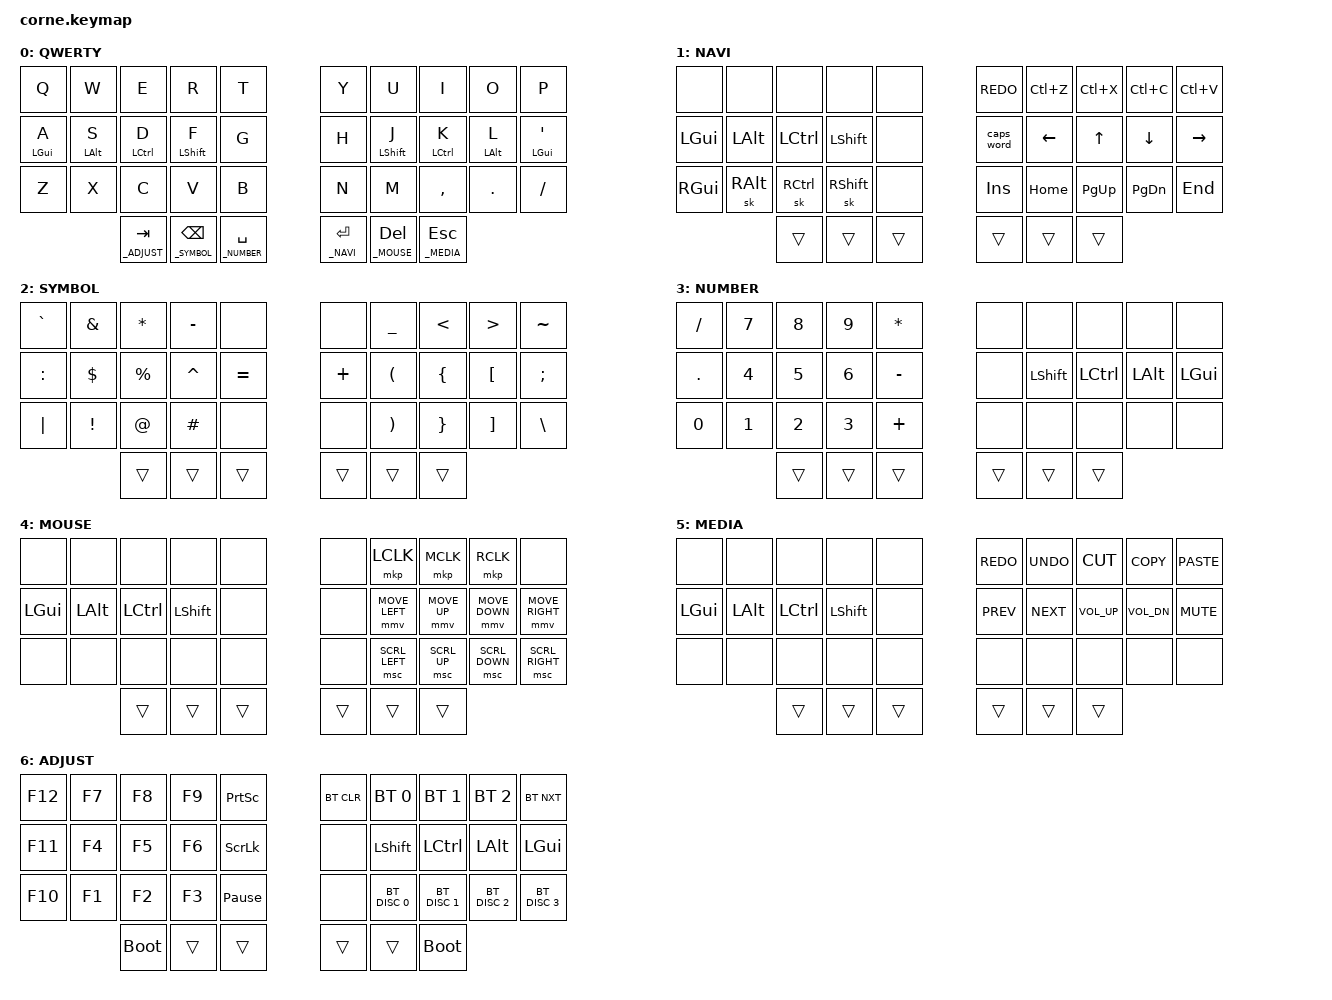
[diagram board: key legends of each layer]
#include <behaviors.dtsi>
#include <dt-bindings/zmk/bt.h>
#include <dt-bindings/zmk/keys.h>
#include <dt-bindings/zmk/pointing.h>

#define _DEFAULT 0
#define _NAVI 1
#define _SYMBOL 2
#define _NUMBER 3
#define _MOUSE 4
#define _MEDIA 5
#define _ADJUST 6
#define TAPPING_TERM 200
#define QUICK_TAP 300

#define ZMK_POINTING_DEFAULT_MOVE_VAL 1500  // default: 600
#define ZMK_POINTING_DEFAULT_SCRL_VAL 25    // default: 10

/* Key index
 0  1  2  3  4         5  6  7  8  9
10 11 12 13 14        15 16 17 18 19
20 21 22 23 24        25 26 27 28 29
        30 31 32    33 34 35         */

&lt {
    tapping-term-ms = <TAPPING_TERM>;
    quick-tap-ms = <QUICK_TAP>;
};

/ {
    behaviors {
        hm: homerow_mods {
            compatible = "zmk,behavior-hold-tap";
            label = "HOMEROW_MODS";
            #binding-cells = <2>;
            tapping-term-ms = <TAPPING_TERM>;
            quick-tap-ms = <QUICK_TAP>;
            flavor = "tap-preferred";
            bindings = <&kp>, <&kp>;
        };
    };
};

/ {
    chosen { zmk,matrix_transform = &five_column_transform; };
};

/ {
    keymap {
        compatible = "zmk,keymap";

        default_layer {
            label = "QWERTY";
            bindings = <
//     |________________|________________|________________|________________|________________|    |________________|________________|________________|________________|________________|
        &kp Q            &kp W            &kp E            &kp R            &kp T                 &kp Y            &kp U            &kp I            &kp O            &kp P
//     |________________|________________|________________|________________|________________|    |________________|________________|________________|________________|________________|
        &hm LGUI A       &hm LALT S       &hm LCTRL D      &hm LSHFT F      &kp G                 &kp H            &hm LSHFT J      &hm LCTRL K      &hm LALT L       &hm LGUI SQT
//     |________________|________________|________________|________________|________________|    |________________|________________|________________|________________|________________|
        &kp Z            &kp X            &kp C            &kp V            &kp B                 &kp N            &kp M            &kp COMMA        &kp DOT          &kp FSLH
//     |________________|________________|________________|________________|________________|    |________________|________________|________________|________________|________________|
//                              |___________________|___________________|___________________|    |___________________|___________________|___________________|
                                 &lt _ADJUST TAB     &lt _SYMBOL BSPC    &lt _NUMBER SPACE        &lt _NAVI RET       &lt _MOUSE DEL      &lt _MEDIA ESC
//                              |___________________|___________________|___________________|    |___________________|___________________|___________________|
            >;
        };

        navi_layer {
            label = "NAVI";
            bindings = <
//     |________________|________________|________________|________________|________________|    |________________|________________|________________|________________|________________|
        &none            &none            &none            &none            &none                 &kp K_REDO       &kp LC(Z)        &kp LC(X)        &kp LC(C)        &kp LC(V)
//     |________________|________________|________________|________________|________________|    |________________|________________|________________|________________|________________|
        &kp LGUI         &kp LALT         &kp LCTRL        &kp LSHFT        &none                 &caps_word       &kp LEFT         &kp UP           &kp DOWN         &kp RIGHT
//     |________________|________________|________________|________________|________________|    |________________|________________|________________|________________|________________|
        &kp RGUI         &sk RALT         &sk RCTRL        &sk RSHFT        &none                 &kp INS          &kp HOME         &kp PG_UP        &kp PG_DN        &kp END
//     |________________|________________|________________|________________|________________|    |________________|________________|________________|________________|________________|
//                              |___________________|___________________|___________________|    |___________________|___________________|___________________|
                                 &trans              &trans              &trans                   &trans              &trans              &trans
//                              |___________________|___________________|___________________|    |___________________|___________________|___________________|
            >;
        };

        symbol_layer {
            label = "SYMBOL";
            bindings = <
//     |________________|________________|________________|________________|________________|    |________________|________________|________________|________________|________________|
        &kp GRAVE        &kp AMPS         &kp STAR         &kp MINUS        &none                 &none            &kp UNDER        &kp LT           &kp GT           &kp TILDE
//     |________________|________________|________________|________________|________________|    |________________|________________|________________|________________|________________|
        &kp COLON        &kp DLLR         &kp PRCNT        &kp CARET        &kp EQUAL             &kp PLUS         &kp LPAR         &kp LBRC         &kp LBKT         &kp SEMI
//     |________________|________________|________________|________________|________________|    |________________|________________|________________|________________|________________|
        &kp PIPE         &kp EXCL         &kp AT           &kp HASH         &none                 &none            &kp RPAR         &kp RBRC         &kp RBKT         &kp BSLH
//     |________________|________________|________________|________________|________________|    |________________|________________|________________|________________|________________|
//                              |___________________|___________________|___________________|    |___________________|___________________|___________________|
                                 &trans              &trans              &trans                   &trans              &trans              &trans
//                              |___________________|___________________|___________________|    |___________________|___________________|___________________|
            >;
        };

        number_layer {
            label = "NUMBER";
            bindings = <
//     |________________|________________|________________|________________|________________|    |________________|________________|________________|________________|________________|
        &kp FSLH         &kp N7           &kp N8           &kp N9           &kp STAR              &none            &none            &none            &none            &none
//     |________________|________________|________________|________________|________________|    |________________|________________|________________|________________|________________|
        &kp DOT          &kp N4           &kp N5           &kp N6           &kp MINUS             &none            &kp LSHFT        &kp LCTRL        &kp LALT         &kp LGUI
//     |________________|________________|________________|________________|________________|    |________________|________________|________________|________________|________________|
        &kp N0           &kp N1           &kp N2           &kp N3           &kp PLUS              &none            &none            &none            &none            &none
//     |________________|________________|________________|________________|________________|    |________________|________________|________________|________________|________________|
//                              |___________________|___________________|___________________|    |___________________|___________________|___________________|
                                 &trans              &trans              &trans                   &trans              &trans              &trans
//                              |___________________|___________________|___________________|    |___________________|___________________|___________________|
            >;
        };

        mouse_layer {
            label = "MOUSE";
            bindings = <
//     |________________|________________|________________|________________|________________|    |________________|________________|________________|________________|________________|
        &none            &none            &none            &none            &none                 &none            &mkp LCLK        &mkp MCLK        &mkp RCLK        &none
//     |________________|________________|________________|________________|________________|    |________________|________________|________________|________________|________________|
        &kp LGUI         &kp LALT         &kp LCTRL        &kp LSHFT        &none                 &none            &mmv MOVE_LEFT   &mmv MOVE_UP     &mmv MOVE_DOWN   &mmv MOVE_RIGHT
//     |________________|________________|________________|________________|________________|    |________________|________________|________________|________________|________________|
        &none            &none            &none            &none            &none                 &none            &msc SCRL_LEFT   &msc SCRL_UP     &msc SCRL_DOWN   &msc SCRL_RIGHT
//     |________________|________________|________________|________________|________________|    |________________|________________|________________|________________|________________|
//                              |___________________|___________________|___________________|    |___________________|___________________|___________________|
                                 &trans              &trans              &trans                   &trans              &trans              &trans
//                              |___________________|___________________|___________________|    |___________________|___________________|___________________|
            >;
        };

        media_layer {
            label = "MEDIA";
            bindings = <
//     |________________|________________|________________|________________|________________|    |________________|________________|________________|________________|________________|
        &none            &none            &none            &none            &none                 &kp K_REDO       &kp K_UNDO       &kp K_CUT        &kp K_COPY       &kp K_PASTE
//     |________________|________________|________________|________________|________________|    |________________|________________|________________|________________|________________|
        &kp LGUI         &kp LALT         &kp LCTRL        &kp LSHFT        &none                 &kp K_PREV       &kp K_NEXT       &kp K_VOL_UP     &kp K_VOL_DN     &kp K_MUTE
//     |________________|________________|________________|________________|________________|    |________________|________________|________________|________________|________________|
        &none            &none            &none            &none            &none                 &none            &none            &none            &none            &none
//     |________________|________________|________________|________________|________________|    |________________|________________|________________|________________|________________|
//                              |___________________|___________________|___________________|    |___________________|___________________|___________________|
                                 &trans              &trans              &trans                   &trans              &trans              &trans
//                              |___________________|___________________|___________________|    |___________________|___________________|___________________|
            >;
        };

        adjust_layer {
            label = "ADJUST";
            bindings = <
//     |________________|________________|________________|________________|________________|    |________________|________________|________________|________________|________________|
        &kp F12          &kp F7           &kp F8           &kp F9           &kp PSCRN             &bt BT_CLR       &bt BT_SEL 0     &bt BT_SEL 1     &bt BT_SEL 2     &bt BT_NXT
//     |________________|________________|________________|________________|________________|    |________________|________________|________________|________________|________________|
        &kp F11          &kp F4           &kp F5           &kp F6           &kp SLCK              &none            &kp LSHFT        &kp LCTRL        &kp LALT         &kp LGUI
//     |________________|________________|________________|________________|________________|    |________________|________________|________________|________________|________________|
        &kp F10          &kp F1           &kp F2           &kp F3           &kp PAUSE_BREAK       &none            &bt BT_DISC 0    &bt BT_DISC 1    &bt BT_DISC 2    &bt BT_DISC 3
//     |________________|________________|________________|________________|________________|    |________________|________________|________________|________________|________________|
//                              |___________________|___________________|___________________|    |___________________|___________________|___________________|
                                 &bootloader         &trans              &trans                   &trans              &trans              &bootloader
//                              |___________________|___________________|___________________|    |___________________|___________________|___________________|
            >;
        };
    };
};
